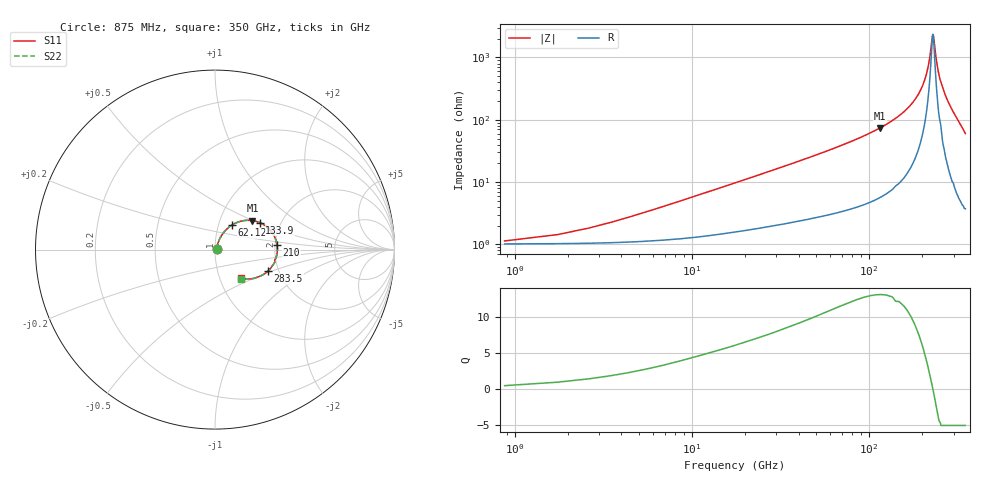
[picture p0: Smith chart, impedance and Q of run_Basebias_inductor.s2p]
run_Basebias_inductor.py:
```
########################################################################
#
# Copyright 2025 Volker Muehlhaus and IHP PDK Authors
#
# Licensed under the GNU General Public License, Version 3.0 (the "License");
# you may not use this file except in compliance with the License.
# You may obtain a copy of the License at
#
#    https://www.gnu.org/licenses/gpl-3.0
#
# Unless required by applicable law or agreed to in writing, software
# distributed under the License is distributed on an "AS IS" BASIS,
# WITHOUT WARRANTIES OR CONDITIONS OF ANY KIND, either express or implied.
# See the License for the specific language governing permissions and
# limitations under the License.
#
########################################################################

import os

from gds2openEMS import *

from openEMS import openEMS
import numpy as np


# Model comments
#
# This is a generic model running port excitation for all ports defined below,
# to get full [S] matrix data.
# Output is stored to Touchstone S-parameter file.
# No data plots are created by this script.
#
# This model uses the settings{} dictionary syntax and the gds2openEMS PyPI package
# (pip install gds2openEMS) instead of a local copy of the modules folder - see the
# README for the loose-variable / local-modules-copy alternative, still fully supported.


# ======================== workflow settings ================================

settings = {}

settings['preview_only'] = True  # preview model/mesh only?
settings['no_gui'] = False # if set to True, there is no mesh/model preview in AppCSXCAD, and simulation starts immediately.

# ===================== input files and path settings =======================

gds_filename = "../klayout/Basebias_inductor.gds"   # geometries
XML_filename = "SG13G2.xml"          # stackup

# preprocess GDSII for safe handling of cutouts/holes?
settings['preprocess_gds'] = False

# merge via polygons with distance less than .. microns, set to 0 to disable via merging.
settings['merge_polygon_size'] = 0


# get path for this simulation file
script_path = utilities.get_script_path(__file__)
# use script filename as model basename
model_basename = utilities.get_basename(__file__)
# set and create directory for simulation output
sim_path = utilities.create_sim_path (script_path,model_basename)
print('Simulation data directory: ', sim_path)
# change current path to model script path
os.chdir(os.path.dirname(os.path.abspath(__file__)))

# ======================== simulation settings ================================

settings['unit']   = 1e-6  # geometry is in microns
settings['margin'] = 200    # distance in microns from GDSII geometry boundary to simulation boundary

settings['fstart']  = 0e9
settings['fstop']   = 350e9
settings['numfreq'] = 401

settings['refined_cellsize'] = 0.5  # mesh cell size in conductor region

# choices for boundary:
# 'PEC' : perfect electric conductor (default)
# 'PMC' : perfect magnetic conductor, useful for symmetries
# 'MUR' : simple MUR absorbing boundary conditions
# 'PML_8' : PML absorbing boundary conditions
settings['Boundaries'] = ['PEC', 'PEC', 'PEC', 'PEC', 'PEC', 'PEC']

settings['cells_per_wavelength'] = 20   # how many mesh cells per wavelength, must be 10 or more
settings['energy_limit'] = -50          # end criteria for residual energy (dB)

# port configuration, port geometry is read from GDSII file on the specified layer
simulation_ports = simulation_setup.all_simulation_ports()

# in-plane port is specified with target_layername= and direction x or y
# via port is specified with from_layername= and to_layername= and direction z
simulation_ports.add_port(simulation_setup.simulation_port(portnumber=1, 
                                                           voltage=1, 
                                                           port_Z0=50, 
                                                           source_layernum=201, 
                                                           from_layername='Metal2', 
                                                           to_layername='TopMetal2', 
                                                           direction='z'))

simulation_ports.add_port(simulation_setup.simulation_port(portnumber=2, 
                                                           voltage=1, 
                                                           port_Z0=50, 
                                                           source_layernum=202, 
                                                           from_layername='Metal2', 
                                                           to_layername='TopMetal2', 
                                                           direction='z'))

# optional field dump based on bounding box of GDSII layer data on special layers
# supported dump_type = 'E','H','J','rotH'
# supported file_type = 'vtk', 'hdf5'
# z-position is zmax of from_layername, zmin of to_layername
field_dumps = True
if field_dumps == True:
    field_dumps = simulation_setup.all_field_dumps()
    field_dumps.add_frequency_dump(name='Jf', 
                                   file_type='vtk', 
                                   dump_type='J', 
                                   frequency=60e9, 
                                   source_layernum=301, 
                                   from_layername='TopMetal2', # Because current only in this layer!
                                   to_layername='TopMetal2', 
                                   offset_top=0, 
                                   offset_bottom=0)
    field_dumps.add_time_dump(name='Et', 
                              file_type='vtk', 
                              dump_type='E', 
                              source_layernum=302, 
                              from_layername='Metal2', 
                              to_layername='TopMetal2', 
                              offset_top=10, 
                              offset_bottom=0)
settings['field_dumps'] = field_dumps

# ======================== simulation ================================

# get technology stackup data
materials_list, dielectrics_list, metals_list = stackup_reader.read_substrate (XML_filename)
# get list of layers from technology
layernumbers = metals_list.getlayernumbers()
# we must also read the layers where we added ports, these are not included in technology layers
layernumbers.extend(simulation_ports.portlayers)

# read geometries from GDSII, only purpose 0
allpolygons = gds_reader.read_gds(gds_filename,
                                  layernumbers,
                                  purposelist=[0],
                                  metals_list=metals_list,
                                  preprocess=settings['preprocess_gds'],
                                  merge_polygon_size=settings['merge_polygon_size'])

# maximum cellsize is calculated inside setupSimulation when using settings dictionary

# define excitation and stop criteria and boundaries
FDTD = openEMS(EndCriteria=np.exp(settings['energy_limit']/10 * np.log(10)))
FDTD.SetGaussExcite( (settings['fstart']+settings['fstop'])/2, (settings['fstop']-settings['fstart'])/2 )
FDTD.SetBoundaryCond( settings['Boundaries'] )

settings['simulation_ports'] = simulation_ports
settings['materials_list'] = materials_list
settings['dielectrics_list'] = dielectrics_list
settings['metals_list'] = metals_list
settings['layernumbers'] = layernumbers
settings['allpolygons'] = allpolygons
settings['sim_path'] = sim_path
settings['model_basename'] = model_basename


########### create model, run and post-process ###########

# run all active port excitations, one after another. Ports with voltage=0 are skipped here -
# their S-parameters are left out of the result, see the FAQ in the user's guide.

for excite_portnumbers in simulation_ports.all_active_excitations():
    settings['excite_portnumbers'] = excite_portnumbers

    simulation_setup.setupSimulation (FDTD=FDTD, settings=settings)  # must use named parameters when using settings dict!
    simulation_setup.runSimulation   (FDTD=FDTD, settings=settings)  # type: ignore # must use named parameters when using settings dict!


# Initialize an empty matrix for S-parameters
num_ports = simulation_ports.portcount
s_params = np.empty((num_ports, num_ports, settings['numfreq']), dtype=object)

# Define frequency resolution. Due to FFT from Empire time domain results,
# this is postprocessing and we can change it again at any time.
f = np.linspace(settings['fstart'],settings['fstop'],settings['numfreq'])

# Populate the S-parameter matrix with simulation results
for i in range(1, num_ports + 1):
    for j in range(1, num_ports + 1):
        s_params[i-1, j-1] = utilities.calculate_Sij(i, j, f, sim_path, simulation_ports) # type: ignore

# Write to Touchstone *.snp file
snp_name = os.path.join(sim_path, model_basename + '.s' + str(num_ports) + 'p')
utilities.write_snp(s_params, f, snp_name, z0=simulation_ports.get_reference_impedance())

print('Created S-parameter output file at ', snp_name)




# ########## evaluation of results with composite GSG ports ###########

# if settings['preview_only']==False:

#     # define dB function for S-parameters
#     def dB(value):
#         return 20.0*np.log10(np.abs(value))

#     # define phase function for S-parameters
#     def phase(value):
#         return np.angle(value, deg=True)


#     f = np.linspace(settings['fstart'],settings['fstop'],settings['numfreq'])

#     # get results, CSX port definition is read from simulation ports object
#     s11 = utilities.calculate_Sij (1, 1, f, sim_path, simulation_ports)
#     s21 = utilities.calculate_Sij (2, 1, f, sim_path, simulation_ports)

#     # S12, S22 is NOT available because we have NOT simulated port2 excitation
#     # fake it by assuming symmetry
#     s22 = s11
#     s12 = s21

#     # write Touchstone S2P file
#     s2p_name = os.path.join(sim_path, model_basename + '.s2p')
#     utilities.write_snp (np.array([[s11, s21],[s12,s22]]),f, s2p_name, z0=simulation_ports.get_reference_impedance())

#     fig, axis = plt.subplots(num='Return Loss', tight_layout=True)
#     axis.plot(f/1e9, dB(s11), 'k-',  linewidth=2, label='S11 (dB)')
#     axis.grid()
#     axis.set_xmargin(0)
#     axis.set_xlabel('Frequency (GHz)')
#     axis.set_title('Return Loss')
#     axis.legend()
    
#     fig, axis = plt.subplots(num='Insertion Loss', tight_layout=True)
#     axis.plot(f/1e9, dB(s21), 'k-',  linewidth=2, label='S21 (dB)')
#     axis.grid()
#     axis.set_xmargin(0)
#     axis.set_xlabel('Frequency (GHz)')
#     axis.set_title('Insertion Loss')
#     axis.legend()

#     fig, axis = plt.subplots(num='Transmission Phase', tight_layout=True)
#     axis.plot(f/1e9, phase(s21), 'k-',  linewidth=2, label='S21 (dB)')
#     axis.grid()
#     axis.set_xmargin(0)
#     axis.set_xlabel('Frequency (GHz)')
#     axis.set_title('Transmission Phase')
#     axis.legend()

#     # show all plots
#     plt.show()
```
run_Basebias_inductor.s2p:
#  Hz  S  RI  R  50
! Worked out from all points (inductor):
!   400 points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, 875 MHz to 350 GHz, reference 50 ohm
!   read as 1/Y11, port 2 shorted: L = 89.1 pH near 6.125 GHz
!   highest Q = 13.1 at 114.6 GHz (marker M1), where L = 101 pH
!   self-resonance near 229.5 GHz
!   S11 on the Smith chart (normalised r, x): 875 MHz: 1.02, +0.01; 62.12 GHz: 1.16, +0.33; 133.9 GHz: 1.56, +0.51; 210 GHz: 2.05, +0.13; 283.5 GHz: 1.76, -0.47; 350 GHz: 1.26, -0.42
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8.75e8  0.00998 0.00296  0.9898 -0.00692  0.9898 -0.00694  0.01 0.00293
8.75e9  0.014 0.0275  0.985 -0.0679  0.985 -0.0678  0.014 0.0276
1.925e10  0.0242 0.0558  0.9716 -0.1443  0.9717 -0.1443  0.0242 0.0559
3.5875e10  0.0467 0.0933  0.9394 -0.2579  0.9394 -0.2579  0.0466 0.0933
6.2125e10  0.0938 0.1366  0.864 -0.4208  0.8641 -0.4208  0.0939 0.1366
1.14625e11  0.2089 0.1617  0.644 -0.6783  0.644 -0.6783  0.2089 0.1618
1.33875e11  0.2495 0.1504  0.5471 -0.7484  0.5472 -0.7483  0.2495 0.1506
1.75875e11  0.3185 0.0943  0.3188 -0.8559  0.3188 -0.8559  0.3186 0.0947
2.1e11  0.3456 0.0275  0.1217 -0.8999  0.1217 -0.8999  0.3458 0.0279
2.835e11  0.2948 -0.1193  -0.3195 -0.8598  -0.3192 -0.8599  0.2958 -0.119
3.5e11  0.1459 -0.1603  -0.6995 -0.6297  -0.699 -0.6309  0.1471 -0.1615
